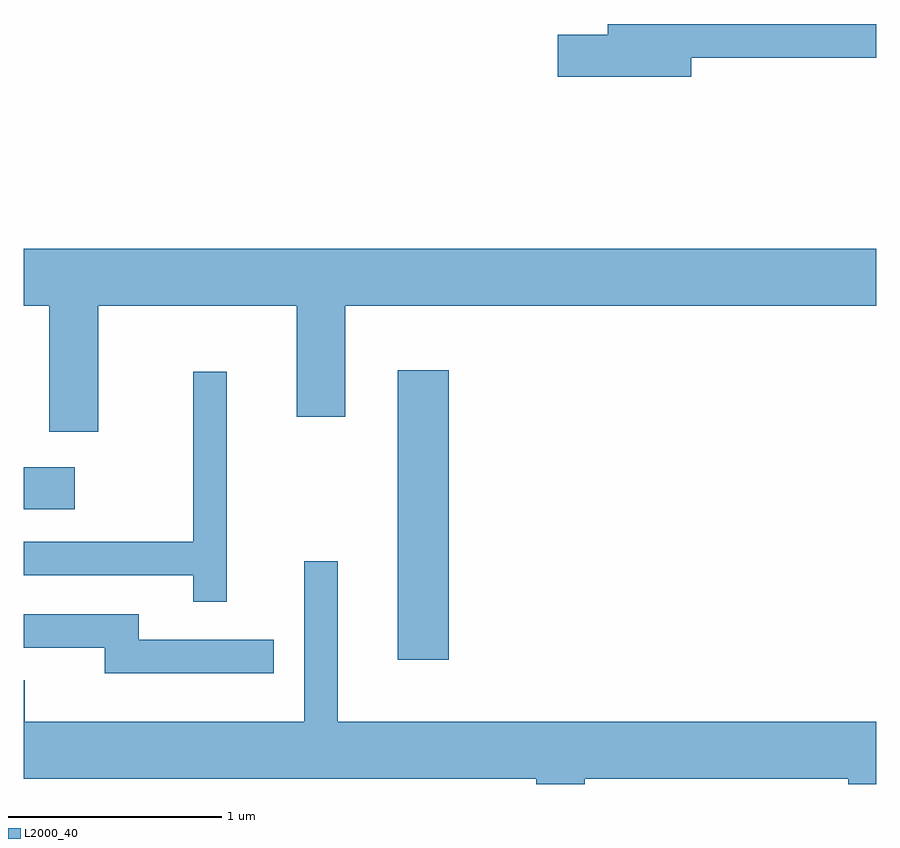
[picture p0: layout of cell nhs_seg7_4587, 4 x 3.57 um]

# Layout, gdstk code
import gdstk
lib = gdstk.Library(unit=1e-6, precision=1e-09)
def R(c, l, rs):  # rectangles x0, y0, x1, y1
    for r in rs: c.add(gdstk.rectangle(r[:2], r[2:], *l))
def P(c, l, *ps):  # polygons
    for p in ps: c.add(gdstk.Polygon(p, *l))
L2000_40 = (2000, 40)

nhs_seg7_4587 = lib.new_cell('nhs_seg7_4587')
R(nhs_seg7_4587, L2000_40, [(327.366,1754.836,327.604,1756.194), (325.611,1755.541,325.849,1755.739)])
P(nhs_seg7_4587, L2000_40, [(328.744,1757.661),(329.611,1757.661),(329.611,1757.819),(328.351,1757.819),(328.351,1757.769),(328.116,1757.769),(328.116,1757.571),(328.744,1757.571)],
  [(325.959,1756.496),(326.891,1756.496),(326.891,1755.976),(327.119,1755.976),(327.119,1756.496),(329.611,1756.496),(329.611,1756.764),(325.611,1756.764),(325.611,1756.496),(325.731,1756.496),(325.731,1755.906),(325.959,1755.906)],
  [(326.564,1756.188),(326.406,1756.188),(326.406,1755.389),(325.611,1755.389),(325.611,1755.231),(326.406,1755.231),(326.406,1755.108),(326.564,1755.108)],
  [(328.244,1754.276),(329.481,1754.276),(329.481,1754.252),(329.611,1754.252),(329.611,1754.544),(327.084,1754.544),(327.084,1755.298),(326.926,1755.298),(326.926,1754.544),(325.614,1754.544),(325.614,1754.739),(325.611,1754.739),(325.611,1754.276),(328.016,1754.276),(328.016,1754.252),(328.244,1754.252)],
  [(326.783,1754.929),(326.149,1754.929),(326.149,1755.049),(325.611,1755.049),(325.611,1754.891),(325.991,1754.891),(325.991,1754.771),(326.783,1754.771)])

lib.write_gds('nhs_seg7_4587.gds')
